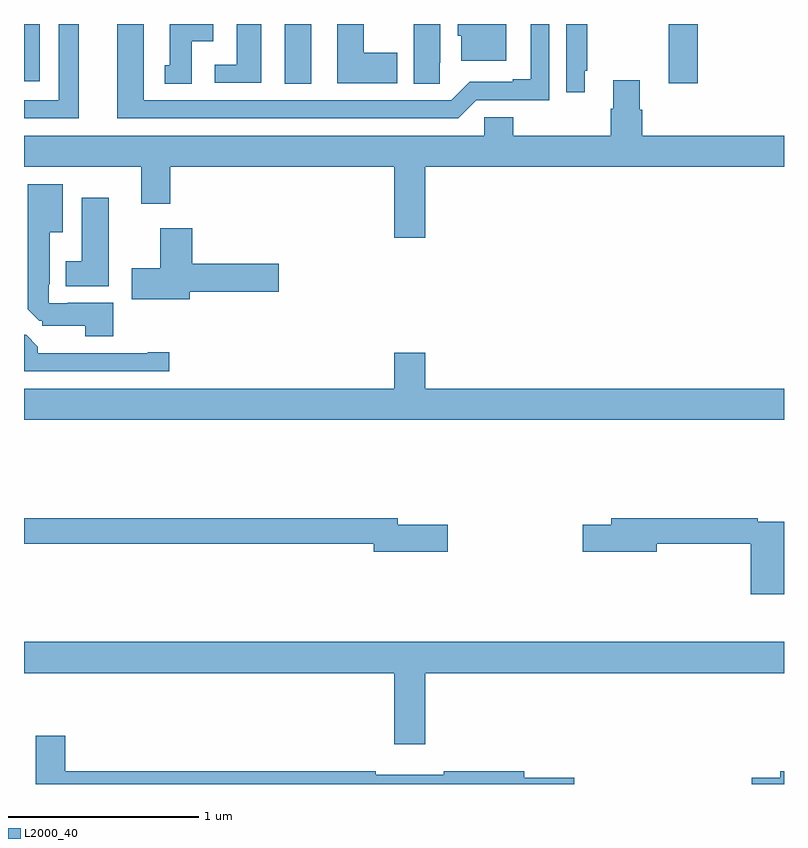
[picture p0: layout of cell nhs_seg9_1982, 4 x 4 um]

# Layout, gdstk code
import gdstk
lib = gdstk.Library(unit=1e-6, precision=1e-09)
def R(c, l, rs):  # rectangles x0, y0, x1, y1
    for r in rs: c.add(gdstk.rectangle(r[:2], r[2:], *l))
def P(c, l, *ps):  # polygons
    for p in ps: c.add(gdstk.Polygon(p, *l))
L2000_40 = (2000, 40)

nhs_seg9_1982 = lib.new_cell('nhs_seg9_1982')
R(nhs_seg9_1982, L2000_40, [(224.372,1202.185,224.512,1202.5), (226.393,1202.187,226.547,1202.5), (223,1202.199,223.084,1202.5)])
P(nhs_seg9_1982, L2000_40, [(223.288,1202.5),(223.184,1202.5),(223.184,1202.1),(223,1202.1),(223,1202.004),(223.288,1202.004)],
  [(224.248,1202.5),(224.12,1202.5),(224.12,1202.286),(224.004,1202.286),(224.004,1202.19),(224.248,1202.19)],
  [(225.381,1202.1),(225.765,1202.1),(225.765,1202.5),(225.668,1202.5),(225.668,1202.209),(225.572,1202.209),(225.572,1202.196),(225.345,1202.196),(225.249,1202.1),(223.63,1202.1),(223.63,1202.5),(223.49,1202.5),(223.49,1202.004),(225.285,1202.004)],
  [(223.882,1202.408),(223.996,1202.408),(223.996,1202.5),(223.766,1202.5),(223.766,1202.283),(223.742,1202.283),(223.742,1202.185),(223.882,1202.185)],
  [(225.952,1202.254),(225.964,1202.254),(225.964,1202.5),(225.855,1202.5),(225.855,1202.142),(225.952,1202.142)],
  [(225.538,1202.5),(225.284,1202.5),(225.284,1202.439),(225.302,1202.439),(225.302,1202.306),(225.538,1202.306)],
  [(224.965,1202.349),(224.788,1202.349),(224.788,1202.5),(224.648,1202.5),(224.648,1202.189),(224.965,1202.189)],
  [(225.189,1202.296),(225.19,1202.296),(225.19,1202.5),(225.05,1202.5),(225.05,1202.185),(225.189,1202.185)],
  [(225.112,1201.748),(227,1201.748),(227,1201.912),(226.253,1201.912),(226.253,1202.049),(226.24,1202.049),(226.24,1202.203),(226.1,1202.203),(226.1,1202.054),(226.088,1202.054),(226.088,1201.912),(225.575,1201.912),(225.575,1202.01),(225.423,1202.01),(225.423,1201.912),(223,1201.912),(223,1201.748),(223.616,1201.748),(223.616,1201.554),(223.769,1201.554),(223.769,1201.748),(224.948,1201.748),(224.948,1201.374),(225.112,1201.374)],
  [(223.471,1201.033),(223.231,1201.033),(223.231,1201.029),(223.131,1201.029),(223.131,1201.129),(223.135,1201.129),(223.135,1201.403),(223.204,1201.403),(223.204,1201.657),(223.019,1201.657),(223.019,1200.999),(223.079,1200.939),(223.095,1200.939),(223.095,1200.912),(223.322,1200.912),(223.322,1200.857),(223.471,1200.857)],
  [(223.447,1201.585),(223.304,1201.585),(223.304,1201.252),(223.22,1201.252),(223.22,1201.121),(223.447,1201.121)],
  [(223.873,1201.091),(224.341,1201.091),(224.341,1201.238),(223.886,1201.238),(223.886,1201.426),(223.718,1201.426),(223.718,1201.215),(223.566,1201.215),(223.566,1201.052),(223.873,1201.052)],
  [(223.765,1200.773),(223.652,1200.773),(223.652,1200.768),(223.073,1200.768),(223.073,1200.802),(223.011,1200.864),(223,1200.864),(223,1200.672),(223.765,1200.672)],
  [(227,1200.58),(225.112,1200.58),(225.112,1200.769),(224.948,1200.769),(224.948,1200.58),(223,1200.58),(223,1200.416),(227,1200.416)],
  [(225.229,1199.864),(224.968,1199.864),(224.968,1199.9),(223,1199.9),(223,1199.764),(224.84,1199.764),(224.84,1199.722),(225.229,1199.722)],
  [(227,1199.88),(226.862,1199.88),(226.862,1199.9),(226.091,1199.9),(226.091,1199.864),(225.942,1199.864),(225.942,1199.722),(226.33,1199.722),(226.33,1199.764),(226.826,1199.764),(226.826,1199.499),(227,1199.499)],
  [(225.112,1199.084),(227,1199.084),(227,1199.248),(223,1199.248),(223,1199.084),(224.948,1199.084),(224.948,1198.71),(225.112,1198.71)],
  [(225.895,1198.532),(225.634,1198.532),(225.634,1198.568),(225.208,1198.568),(225.208,1198.549),(224.852,1198.549),(224.852,1198.568),(223.217,1198.568),(223.217,1198.753),(223.063,1198.753),(223.063,1198.5),(225.895,1198.5)],
  [(227,1198.568),(226.979,1198.568),(226.979,1198.532),(226.83,1198.532),(226.83,1198.5),(227,1198.5)])

lib.write_gds('nhs_seg9_1982.gds')
